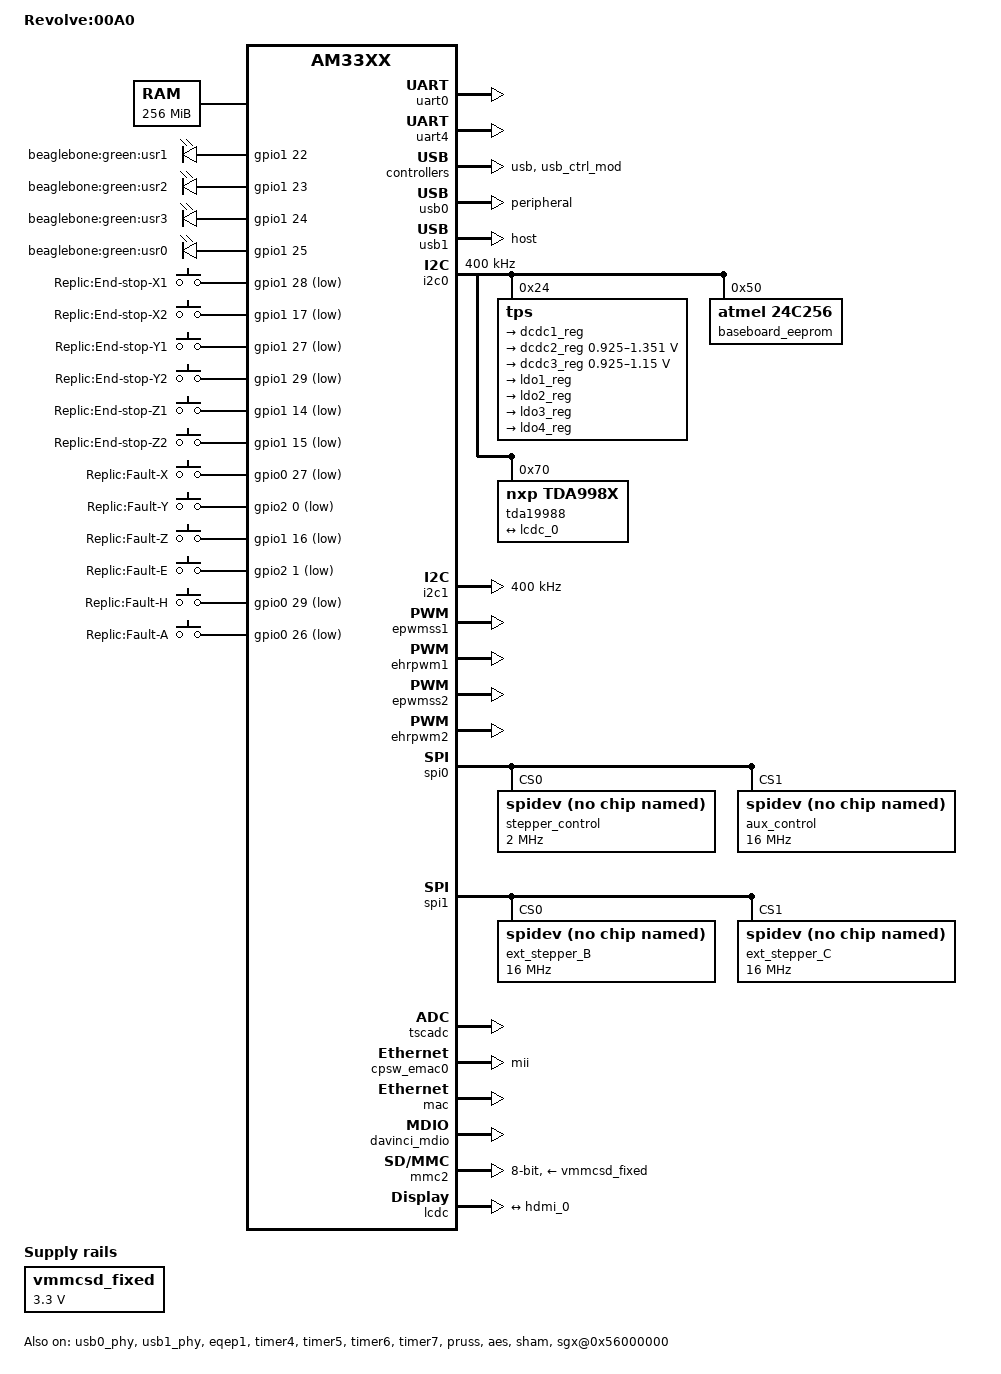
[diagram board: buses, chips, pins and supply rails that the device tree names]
/*
 * Copyright (C) 2012 Texas Instruments Incorporated - http://www.ti.com/
 *
 * This program is free software; you can redistribute it and/or modify
 * it under the terms of the GNU General Public License version 2 as
 * published by the Free Software Foundation.
 */
/dts-v1/;

#include "am33xx.dtsi"
/* #include "am335x-bone-jtag.dtsi" */

/ {

	model = "Revolve:00A0";
	compatible = "ti,am335x-bone-black", "ti,am335x-bone", "ti,am33xx";

	cpus {
		cpu@0 {
			cpu0-supply = <&dcdc2_reg>;
		};
	};

	memory@80000000 {
		device_type = "memory";
		reg = <0x80000000 0x10000000>; /* 256 MB */
	};

	chosen {
		stdout-path = &uart0;
	};

	vmmcsd_fixed: fixedregulator0 {
		compatible = "regulator-fixed";
		regulator-name = "vmmcsd_fixed";
		regulator-min-microvolt = <3300000>;
		regulator-max-microvolt = <3300000>;
	};

    leds {
	    pinctrl-names = "default";
	    pinctrl-0 = <&user_leds_s0>;

	    compatible = "gpio-leds";

	    led1 {
		    label = "beaglebone:green:usr1";
		    gpios = <&gpio1 22 GPIO_ACTIVE_HIGH>;
            trigger-sources = <&usb1>;
		    /*linux,default-trigger = "mmc0";*/
		    default-state = "off";
	    };

	    led2 {
		    label = "beaglebone:green:usr2";
		    gpios = <&gpio1 23 GPIO_ACTIVE_HIGH>;
		    linux,default-trigger = "cpu0";
		    default-state = "off";
	    };

	    led3 {
		    label = "beaglebone:green:usr3";
		    gpios = <&gpio1 24 GPIO_ACTIVE_HIGH>;
		    linux,default-trigger = "mmc1";
		    default-state = "off";
	    };
	    led4 {
		    label = "beaglebone:green:usr0";
		    gpios = <&gpio1 25 GPIO_ACTIVE_HIGH>;
		    linux,default-trigger = "heartbeat";
		    default-state = "off";
	    };

    };


    gpio_keys {
        compatible = "gpio-keys";
        pinctrl-names = "default";
        pinctrl-0 = <&end_stop_pins>;
        pinctrl-1 = <&stepper_fault_pins>;
        #address-cells = <1>;
        #size-cells = <0>;

        switch_x1 {
            label               = "Replic:End-stop-X1";
            debounce_interval   = <50>;
            linux,code          = <112>;
            gpios               = <&gpio1 28 0x5>;
            gpio-key,wakeup;
        };
        switch_x2 {
            label               = "Replic:End-stop-X2";
            debounce_interval   = <50>;
            linux,code          = <113>;
            gpios               = <&gpio1 17 0x5>;
            gpio-key,wakeup;
        };
        switch_y1 {
            label               = "Replic:End-stop-Y1";
            debounce_interval   = <50>;
            linux,code          = <114>;
            gpios               = <&gpio1 27 0x5>;
            gpio-key,wakeup;
        };
        switch_y2 {
            label               = "Replic:End-stop-Y2";
            debounce_interval   = <50>;
            linux,code          = <115>;
            gpios               = <&gpio1 29 0x5>;
            gpio-key,wakeup;
        };
        switch_z1 {
            label               = "Replic:End-stop-Z1";
            debounce_interval   = <50>;
            linux,code          = <116>;
            gpios               = <&gpio1 14 0x5>;
            gpio-key,wakeup;
        };
        switch_z2 {
            label               = "Replic:End-stop-Z2";
            debounce_interval   = <50>;
            linux,code          = <117>;
            gpios               = <&gpio1 15 0x5>;
            gpio-key,wakeup;
        };
        fault_x {
            label               = "Replic:Fault-X";
            debounce_interval   = <50>;
            linux,code          = <90>;
            gpios               = <&gpio0 27 0x5>;
            gpio-key,wakeup;
        };
        fault_y {
            label               = "Replic:Fault-Y";
            debounce_interval   = <50>;
            linux,code          = <91>;
            gpios               = <&gpio2 0 0x5>;
            gpio-key,wakeup;
        };
        fault_z {
            label               = "Replic:Fault-Z";
            debounce_interval   = <50>;
            linux,code          = <92>;
            gpios               = <&gpio1 16 0x5>;
            gpio-key,wakeup;
        };
        fault_e {
            label               = "Replic:Fault-E";
            debounce_interval   = <50>;
            linux,code          = <93>;
            gpios               = <&gpio2 1 0x5>;
            gpio-key,wakeup;
        };
        fault_h {
            label               = "Replic:Fault-H";
            debounce_interval   = <50>;
            linux,code          = <94>;
            gpios               = <&gpio0 29 0x5>;
            gpio-key,wakeup;
        };
        fault_a {
            label               = "Replic:Fault-A";
            debounce_interval   = <50>;
            linux,code          = <94>;
            gpios               = <&gpio0 26 0x5>;
            gpio-key,wakeup;
        };
    };


    pwm4: pwm-heater-e {
        compatible = "ti,omap-dmtimer-pwm";
        ti,timers = <&timer4>;
        #pwm-cells = <3>;
        pinctrl-names = "default";
	    pinctrl-0 = <&timer4_pins>;

    };

    pwm5: pwm-heater-h {
        compatible = "ti,omap-dmtimer-pwm";
        ti,timers = <&timer5>;
        #pwm-cells = <3>;
        pinctrl-names = "default";
	    pinctrl-0 = <&timer5_pins>;

    };

    pwm6: pwm-heater-hbp {
        compatible = "ti,omap-dmtimer-pwm";
        ti,timers = <&timer6>;
        #pwm-cells = <3>;
        pinctrl-names = "default";
	    pinctrl-0 = <&timer6_pins>;

    };

    pwm7: pwm-heater-a {
        compatible = "ti,omap-dmtimer-pwm";
        ti,timers = <&timer7>;
        #pwm-cells = <3>;
        pinctrl-names = "default";
	    pinctrl-0 = <&timer7_pins>;

    };
};


&cpu0_opp_table {
	/*
	 * All PG 2.0 silicon may not support 1GHz but some of the early
	 * BeagleBone Blacks have PG 2.0 silicon which is guaranteed
	 * to support 1GHz OPP so enable it for PG 2.0 on this board.
	 */
	oppnitro-1000000000 {
		opp-supported-hw = <0x06 0x0100>;
	};
};


&am33xx_pinmux {
	nxp_hdmi_bonelt_pins: nxp_hdmi_bonelt_pins {
		pinctrl-single,pins = <
			AM33XX_IOPAD(0x8a0, PIN_OUTPUT | MUX_MODE0)		/* lcd_data0.lcd_data0 */
			AM33XX_IOPAD(0x8a4, PIN_OUTPUT | MUX_MODE0)		/* lcd_data1.lcd_data1 */
			AM33XX_IOPAD(0x8a8, PIN_OUTPUT | MUX_MODE0)		/* lcd_data2.lcd_data2 */
			AM33XX_IOPAD(0x8ac, PIN_OUTPUT | MUX_MODE0)		/* lcd_data3.lcd_data3 */
			AM33XX_IOPAD(0x8b0, PIN_OUTPUT | MUX_MODE0)		/* lcd_data4.lcd_data4 */
			AM33XX_IOPAD(0x8b4, PIN_OUTPUT | MUX_MODE0)		/* lcd_data5.lcd_data5 */
			AM33XX_IOPAD(0x8b8, PIN_OUTPUT | MUX_MODE0)		/* lcd_data6.lcd_data6 */
			AM33XX_IOPAD(0x8bc, PIN_OUTPUT | MUX_MODE0)		/* lcd_data7.lcd_data7 */
			AM33XX_IOPAD(0x8c0, PIN_OUTPUT | MUX_MODE0)		/* lcd_data8.lcd_data8 */
			AM33XX_IOPAD(0x8c4, PIN_OUTPUT | MUX_MODE0)		/* lcd_data9.lcd_data9 */
			AM33XX_IOPAD(0x8c8, PIN_OUTPUT | MUX_MODE0)		/* lcd_data10.lcd_data10 */
			AM33XX_IOPAD(0x8cc, PIN_OUTPUT | MUX_MODE0)		/* lcd_data11.lcd_data11 */
			AM33XX_IOPAD(0x8d0, PIN_OUTPUT | MUX_MODE0)		/* lcd_data12.lcd_data12 */
			AM33XX_IOPAD(0x8d4, PIN_OUTPUT | MUX_MODE0)		/* lcd_data13.lcd_data13 */
			AM33XX_IOPAD(0x8d8, PIN_OUTPUT | MUX_MODE0)		/* lcd_data14.lcd_data14 */
			AM33XX_IOPAD(0x8dc, PIN_OUTPUT | MUX_MODE0)		/* lcd_data15.lcd_data15 */
			AM33XX_IOPAD(0x8e0, PIN_OUTPUT_PULLDOWN | MUX_MODE0)	/* lcd_vsync.lcd_vsync */
			AM33XX_IOPAD(0x8e4, PIN_OUTPUT_PULLDOWN | MUX_MODE0)	/* lcd_hsync.lcd_hsync */
			AM33XX_IOPAD(0x8e8, PIN_OUTPUT_PULLDOWN | MUX_MODE0)	/* lcd_pclk.lcd_pclk */
			AM33XX_IOPAD(0x8ec, PIN_OUTPUT_PULLDOWN | MUX_MODE0)	/* lcd_ac_bias_en.lcd_ac_bias_en */
		>;
	};

    ehrpwm1_pins: ehrpwm1_pins_default {
	    pinctrl-single,pins = <
		    0x20 ( PIN_OUTPUT | MUX_MODE4 ) /* (U10) gpmc_ad8.ehrpwm2A */
		    0x24 ( PIN_OUTPUT | MUX_MODE4 ) /* (T10) gpmc_ad9.ehrpwm2B */
	    >;
    };

    ehrpwm2_pins: ehrpwm2_pins_default {
	    pinctrl-single,pins = <
		    0x48 ( PIN_OUTPUT | MUX_MODE6 ) /* (U14) gpmc_a2.ehrpwm1A */
		    0x4c ( PIN_OUTPUT | MUX_MODE6 ) /* (T14) gpmc_a3.ehrpwm1B */
	    >;
    };

    spi0_pins_default: spi0_pins_deafult {
	    pinctrl-single,pins = <
		    0x150 ( PIN_INPUT | MUX_MODE0 ) /* (A17) spi0_sclk.spi0_sclk */
		    0x154 ( PIN_INPUT | MUX_MODE0 ) /* (B17) spi0_d0.spi0_d0 */
		    0x158 ( PIN_INPUT | MUX_MODE0 ) /* (B16) spi0_d1.spi0_d1 */
		    0x15c ( PIN_OUTPUT | MUX_MODE0 ) /* (A16) spi0_cs0.spi0_cs0 */
		    0x160 ( PIN_OUTPUT | MUX_MODE0 ) /* (C15) spi0_cs1.spi0_cs1 */
	    >;
    };

    spi0_pins_reset: spi0_pins_reset {
	    pinctrl-single,pins = <
		    0x150 ( PIN_INPUT | MUX_MODE7 ) /* (A17) spi0_sclk.spi0_sclk */
		    0x154 ( PIN_INPUT | MUX_MODE7 ) /* (B17) spi0_d0.spi0_d0 */
		    0x158 ( PIN_INPUT | MUX_MODE7 ) /* (B16) spi0_d1.spi0_d1 */
		    0x15c ( PIN_INPUT | MUX_MODE7 ) /* (A16) spi0_cs0.spi0_cs0 */
		    0x160 ( PIN_INPUT | MUX_MODE7 ) /* (C15) spi0_cs1.spi0_cs1 */
	    >;
    };

    spi1_pins: spi1_pins {
	    pinctrl-single,pins = <
		    0x164 ( PIN_INPUT | MUX_MODE4 ) /* (C18) eCAP0_in_PWM0_out.spi1_sclk */
		    0x168 ( PIN_INPUT | MUX_MODE4 ) /* (E18) uart0_ctsn.spi1_d0 */
		    0x16c ( PIN_INPUT | MUX_MODE4 ) /* (E17) uart0_rtsn.spi1_d1 */
		    0x178 ( PIN_INPUT | MUX_MODE4 ) /* (D18) uart1_ctsn.spi1_cs0 */
		    0x17c ( PIN_INPUT | MUX_MODE4 ) /* (D17) uart1_rtsn.spi1_cs1 */
	    >;
    };

    pru_stepper_pins: pru_pruss11_pins {
	    pinctrl-single,pins = <
		    0x190 ( PIN_OUTPUT | MUX_MODE5 ) /* (A13) mcasp0_aclkx.pr1_pru0_pru_r30[0] */
		    0x194 ( PIN_OUTPUT | MUX_MODE5 ) /* (B13) mcasp0_fsx.pr1_pru0_pru_r30[1] */
		    0x198 ( PIN_OUTPUT | MUX_MODE5 ) /* (D12) mcasp0_axr0.pr1_pru0_pru_r30[2] */
		    0x19c ( PIN_OUTPUT | MUX_MODE5 ) /* (C12) mcasp0_ahclkr.pr1_pru0_pru_r30[3] */
		    0x1a0 ( PIN_OUTPUT | MUX_MODE5 ) /* (B12) mcasp0_aclkr.pr1_pru0_pru_r30[4] */
		    0x1a4 ( PIN_OUTPUT | MUX_MODE5 ) /* (C13) mcasp0_fsr.pr1_pru0_pru_r30[5] */
		    0x1a8 ( PIN_OUTPUT | MUX_MODE5 ) /* (D13) mcasp0_axr1.pr1_pru0_pru_r30[6] */
		    0x1ac ( PIN_OUTPUT | MUX_MODE5 ) /* (A14) mcasp0_ahclkx.pr1_pru0_pru_r30[7] */
		    0xf0 ( PIN_OUTPUT | MUX_MODE5 ) /* (F17) mmc0_dat3.pr1_pru0_pru_r30[8] */
		    0xf4 ( PIN_OUTPUT | MUX_MODE5 ) /* (F18) mmc0_dat2.pr1_pru0_pru_r30[9] */
		    0xf8 ( PIN_OUTPUT | MUX_MODE5 ) /* (G15) mmc0_dat1.pr1_pru0_pru_r30[10] */
		    0xfc ( PIN_OUTPUT | MUX_MODE5 ) /* (G16) mmc0_dat0.pr1_pru0_pru_r30[11] */
		    0x100 ( PIN_OUTPUT | MUX_MODE5 ) /* (G17) mmc0_clk.pr1_pru0_pru_r30[12] */
		    0x104 ( PIN_OUTPUT | MUX_MODE5 ) /* (G18) mmc0_cmd.pr1_pru0_pru_r30[13] */
		    0x30 ( PIN_OUTPUT | MUX_MODE6 ) /* (T12) gpmc_ad12.pr1_pru0_pru_r30[14] */
		    0x34 ( PIN_OUTPUT | MUX_MODE6 ) /* (R12) gpmc_ad13.pr1_pru0_pru_r30[15] */
		    /*0x38 ( PIN_INPUT | MUX_MODE6 )*/ /* (V13) gpmc_ad14.pr1_pru0_pru_r31[14] */
		    /*0x3c ( PIN_INPUT | MUX_MODE6 )*/ /* (U13) gpmc_ad15.pr1_pru0_pru_r31[15] */
		    0x1b4 ( PIN_INPUT | MUX_MODE5 ) /* (D14) xdma_event_intr1.pr1_pru0_pru_r31[16] */
	    >;
    };

    pru_stepper_pins_gpio: pru_pruss11_pins_gpio {
	    pinctrl-single,pins = <
		    0x190 ( PIN_OUTPUT | MUX_MODE7 ) /* (A13) mcasp0_aclkx.pr1_pru0_pru_r30[0] */
		    0x194 ( PIN_OUTPUT | MUX_MODE7 ) /* (B13) mcasp0_fsx.pr1_pru0_pru_r30[1] */
		    0x198 ( PIN_OUTPUT | MUX_MODE7 ) /* (D12) mcasp0_axr0.pr1_pru0_pru_r30[2] */
		    0x19c ( PIN_OUTPUT | MUX_MODE7 ) /* (C12) mcasp0_ahclkr.pr1_pru0_pru_r30[3] */
		    0x1a0 ( PIN_OUTPUT | MUX_MODE7 ) /* (B12) mcasp0_aclkr.pr1_pru0_pru_r30[4] */
		    0x1a4 ( PIN_OUTPUT | MUX_MODE7 ) /* (C13) mcasp0_fsr.pr1_pru0_pru_r30[5] */
		    0x1a8 ( PIN_OUTPUT | MUX_MODE7 ) /* (D13) mcasp0_axr1.pr1_pru0_pru_r30[6] */
		    0x1ac ( PIN_OUTPUT | MUX_MODE7 ) /* (A14) mcasp0_ahclkx.pr1_pru0_pru_r30[7] */
		    0xf0 ( PIN_OUTPUT | MUX_MODE7 ) /* (F17) mmc0_dat3.pr1_pru0_pru_r30[8] */
		    0xf4 ( PIN_OUTPUT | MUX_MODE7 ) /* (F18) mmc0_dat2.pr1_pru0_pru_r30[9] */
		    0xf8 ( PIN_OUTPUT | MUX_MODE7 ) /* (G15) mmc0_dat1.pr1_pru0_pru_r30[10] */
		    0xfc ( PIN_OUTPUT | MUX_MODE7 ) /* (G16) mmc0_dat0.pr1_pru0_pru_r30[11] */
		    0x100 ( PIN_OUTPUT | MUX_MODE7 ) /* (G17) mmc0_clk.pr1_pru0_pru_r30[12] */
		    0x104 ( PIN_OUTPUT | MUX_MODE7 ) /* (G18) mmc0_cmd.pr1_pru0_pru_r30[13] */
		    0x30 ( PIN_OUTPUT | MUX_MODE7 ) /* (T12) gpmc_ad12.pr1_pru0_pru_r30[14] */
		    0x34 ( PIN_OUTPUT | MUX_MODE7 ) /* (R12) gpmc_ad13.pr1_pru0_pru_r30[15] */
	    >;
    };

    timer4_pins: timer4_pins {
	    pinctrl-single,pins = <
		    0x90 ( PIN_OUTPUT | MUX_MODE2 ) /* (R7) gpmc_advn_ale.timer4 */
	    >;
    };

    timer5_pins: timer5_pins {
	    pinctrl-single,pins = <
		     0x9c ( PIN_OUTPUT | MUX_MODE2 ) /* (T6) gpmc_be0n_cle.timer5 */
	    >;
    };
    timer6_pins: timer6_pins {
	    pinctrl-single,pins = <
		    0x98 ( PIN_OUTPUT | MUX_MODE2 ) /* (U6) gpmc_wen.timer6 */
	    >;
    };
    timer7_pins: timer7_pins {
	    pinctrl-single,pins = <
		     0x94 ( PIN_OUTPUT | MUX_MODE2 ) /* (T7) gpmc_oen_ren.timer7 */
	    >;
    };

    user_leds_s0: user_leds_s0 {
		pinctrl-single,pins = <
            0x64 ( PIN_OUTPUT | MUX_MODE7 ) /* (U16) gpmc_a9.gpio1[25] */
			AM33XX_IOPAD(0x858, PIN_OUTPUT | MUX_MODE7)	/* gpmc_a6.gpio1_22 */
			AM33XX_IOPAD(0x85c, PIN_OUTPUT | MUX_MODE7)	/* gpmc_a7.gpio1_23 */
			AM33XX_IOPAD(0x860, PIN_OUTPUT | MUX_MODE7)	/* gpmc_a8.gpio1_24 */
		>;
	};

    i2c0_pins: pinmux_i2c0_pins {
		pinctrl-single,pins = <
			AM33XX_IOPAD(0x988, PIN_INPUT_PULLUP | MUX_MODE0)	/* i2c0_sda.i2c0_sda */
			AM33XX_IOPAD(0x98c, PIN_INPUT_PULLUP | MUX_MODE0)	/* i2c0_scl.i2c0_scl */
		>;
	};

    i2c1_pins: i2c1_pins {
        pinctrl-single,pins = <
	        0x184 ( PIN_INPUT | MUX_MODE3 ) /* (D15) uart1_txd.I2C1_SCL */
	        0x180 ( PIN_INPUT | MUX_MODE3 ) /* (D16) uart1_rxd.I2C1_SDA */
        >;
    };


    uart0_pins: pinmux_uart0_pins {
		pinctrl-single,pins = <
			AM33XX_IOPAD(0x970, PIN_INPUT_PULLUP | MUX_MODE0)	/* uart0_rxd.uart0_rxd */
			AM33XX_IOPAD(0x974, PIN_OUTPUT_PULLDOWN | MUX_MODE0)	/* uart0_txd.uart0_txd */
		>;
	};

    uart4_pins: pinmux_uart4_pins {
	    pinctrl-single,pins = <
		    0x70 ( PIN_INPUT | MUX_MODE6 ) /* (T17) gpmc_wait0.uart4_rxd */
		    0x74 ( PIN_OUTPUT | MUX_MODE6 ) /* (U17) gpmc_wpn.uart4_txd */
	    >;
    };

    cpsw_default: cpsw_default {
		pinctrl-single,pins = <
			/* Slave 1 */
			0x108 (PIN_INPUT | MUX_MODE0)		/* mii1_col.mii1_col */
			0x10c (PIN_INPUT | MUX_MODE0)		/* mii1_crs.mii1_crs */
			AM33XX_IOPAD(0x910, PIN_INPUT_PULLUP | MUX_MODE0)	/* mii1_rxerr.mii1_rxerr */
			AM33XX_IOPAD(0x914, PIN_OUTPUT_PULLDOWN | MUX_MODE0)	/* mii1_txen.mii1_txen */
			AM33XX_IOPAD(0x918, PIN_INPUT_PULLUP | MUX_MODE0)	/* mii1_rxdv.mii1_rxdv */
			AM33XX_IOPAD(0x91c, PIN_OUTPUT_PULLDOWN | MUX_MODE0)	/* mii1_txd3.mii1_txd3 */
			AM33XX_IOPAD(0x920, PIN_OUTPUT_PULLDOWN | MUX_MODE0)	/* mii1_txd2.mii1_txd2 */
			AM33XX_IOPAD(0x924, PIN_OUTPUT_PULLDOWN | MUX_MODE0)	/* mii1_txd1.mii1_txd1 */
			AM33XX_IOPAD(0x928, PIN_OUTPUT_PULLDOWN | MUX_MODE0)	/* mii1_txd0.mii1_txd0 */
			AM33XX_IOPAD(0x92c, PIN_INPUT_PULLUP | MUX_MODE0)	/* mii1_txclk.mii1_txclk */
			AM33XX_IOPAD(0x930, PIN_INPUT_PULLUP | MUX_MODE0)	/* mii1_rxclk.mii1_rxclk */
			AM33XX_IOPAD(0x934, PIN_INPUT_PULLUP | MUX_MODE0)	/* mii1_rxd3.mii1_rxd3 */
			AM33XX_IOPAD(0x938, PIN_INPUT_PULLUP | MUX_MODE0)	/* mii1_rxd2.mii1_rxd2 */
			AM33XX_IOPAD(0x93c, PIN_INPUT_PULLUP | MUX_MODE0)	/* mii1_rxd1.mii1_rxd1 */
			AM33XX_IOPAD(0x940, PIN_INPUT_PULLUP | MUX_MODE0)	/* mii1_rxd0.mii1_rxd0 */
		>;
	};

	cpsw_sleep: cpsw_sleep {
		pinctrl-single,pins = <
			/* Slave 1 reset value */
			0x108 (PIN_INPUT_PULLDOWN | MUX_MODE7)
			0x10c (PIN_INPUT_PULLDOWN | MUX_MODE7)
			AM33XX_IOPAD(0x910, PIN_INPUT_PULLDOWN | MUX_MODE7)
			AM33XX_IOPAD(0x914, PIN_INPUT_PULLDOWN | MUX_MODE7)
			AM33XX_IOPAD(0x918, PIN_INPUT_PULLDOWN | MUX_MODE7)
			AM33XX_IOPAD(0x91c, PIN_INPUT_PULLDOWN | MUX_MODE7)
			AM33XX_IOPAD(0x920, PIN_INPUT_PULLDOWN | MUX_MODE7)
			AM33XX_IOPAD(0x924, PIN_INPUT_PULLDOWN | MUX_MODE7)
			AM33XX_IOPAD(0x928, PIN_INPUT_PULLDOWN | MUX_MODE7)
			AM33XX_IOPAD(0x92c, PIN_INPUT_PULLDOWN | MUX_MODE7)
			AM33XX_IOPAD(0x930, PIN_INPUT_PULLDOWN | MUX_MODE7)
			AM33XX_IOPAD(0x934, PIN_INPUT_PULLDOWN | MUX_MODE7)
			AM33XX_IOPAD(0x938, PIN_INPUT_PULLDOWN | MUX_MODE7)
			AM33XX_IOPAD(0x93c, PIN_INPUT_PULLDOWN | MUX_MODE7)
			AM33XX_IOPAD(0x940, PIN_INPUT_PULLDOWN | MUX_MODE7)
		>;
	};

	davinci_mdio_default: davinci_mdio_default {
		pinctrl-single,pins = <
			/* MDIO */
			AM33XX_IOPAD(0x948, PIN_INPUT_PULLUP | SLEWCTRL_FAST | MUX_MODE0)	/* mdio_data.mdio_data */
			AM33XX_IOPAD(0x94c, PIN_OUTPUT_PULLUP | MUX_MODE0)			/* mdio_clk.mdio_clk */
		>;
	};

	davinci_mdio_sleep: davinci_mdio_sleep {
		pinctrl-single,pins = <
			/* MDIO reset value */
			AM33XX_IOPAD(0x948, PIN_INPUT_PULLDOWN | MUX_MODE7)
			AM33XX_IOPAD(0x94c, PIN_INPUT_PULLDOWN | MUX_MODE7)
		>;
	};

	emmc_pins: pinmux_emmc_pins {
		pinctrl-single,pins = <
			AM33XX_IOPAD(0x880, PIN_INPUT_PULLUP | MUX_MODE2) /* gpmc_csn1.mmc1_clk */
			AM33XX_IOPAD(0x884, PIN_INPUT_PULLUP | MUX_MODE2) /* gpmc_csn2.mmc1_cmd */
			AM33XX_IOPAD(0x800, PIN_INPUT_PULLUP | MUX_MODE1) /* gpmc_ad0.mmc1_dat0 */
			AM33XX_IOPAD(0x804, PIN_INPUT_PULLUP | MUX_MODE1) /* gpmc_ad1.mmc1_dat1 */
			AM33XX_IOPAD(0x808, PIN_INPUT_PULLUP | MUX_MODE1) /* gpmc_ad2.mmc1_dat2 */
			AM33XX_IOPAD(0x80c, PIN_INPUT_PULLUP | MUX_MODE1) /* gpmc_ad3.mmc1_dat3 */
			AM33XX_IOPAD(0x810, PIN_INPUT_PULLUP | MUX_MODE1) /* gpmc_ad4.mmc1_dat4 */
			AM33XX_IOPAD(0x814, PIN_INPUT_PULLUP | MUX_MODE1) /* gpmc_ad5.mmc1_dat5 */
			AM33XX_IOPAD(0x818, PIN_INPUT_PULLUP | MUX_MODE1) /* gpmc_ad6.mmc1_dat6 */
			AM33XX_IOPAD(0x81c, PIN_INPUT_PULLUP | MUX_MODE1) /* gpmc_ad7.mmc1_dat7 */
		>;
	};

    stepper_fault_pins: pinmux_stepper_fault_pins{
        pinctrl-single,pins = <
            0x2c  ( PIN_INPUT | MUX_MODE7 ) // FAULT X
            0x88  ( PIN_INPUT | MUX_MODE7 ) // FAULT Y
            0x40  ( PIN_INPUT | MUX_MODE7 ) // FAULT Z
            0x8c  ( PIN_INPUT | MUX_MODE7 ) // FAULT E
            0x144 ( PIN_INPUT | MUX_MODE7 ) // FAULT H
            0x28  ( PIN_INPUT | MUX_MODE7 ) // FAULT A
        >;
    };

    end_stop_pins: pinmux_end_stop_pins{
        pinctrl-single,pins = <
            0x78 ( PIN_INPUT | MUX_MODE7 ) // End stop X1  = GPIO3_21
            0x44 ( PIN_INPUT | MUX_MODE7 ) // End stop X2  = GPIO0_30
            0x6c ( PIN_INPUT | MUX_MODE7 ) // End stop Y1  = GPIO1_27
            0x7c ( PIN_INPUT | MUX_MODE7 ) // End stop Z1  = GPIO1_14
            0x38 ( PIN_INPUT | MUX_MODE7 ) // End stop Z2  = GPIO1_15
            0x3c ( PIN_INPUT | MUX_MODE7 ) // End stop Y2  = GPIO3_17
        >;
    };

    enable_stuff_pins: enable_stuff_pins{
        pinctrl-single,pins = <
	            0x21c ( PIN_INPUT | MUX_MODE7 ) /* (F16) USB0_DRVVBUS.gpio0[18] */
        >;
    };

    eqep1_pins_default: myeqep1_pins_default {
	    pinctrl-single,pins = <
		    0x50 ( PIN_INPUT | MUX_MODE6 ) /* (R14) gpmc_a4.eQEP1A_in */
		    0x54 ( PIN_INPUT | MUX_MODE6 ) /* (V15) gpmc_a5.eQEP1B_in */
	    >;
    };
};

&uart0 {
	pinctrl-names = "default";
	pinctrl-0 = <&uart0_pins>;
	status = "okay";
};

&uart4 {
	pinctrl-names = "default";
	pinctrl-0 = <&uart4_pins>;
	status = "okay";
};

&usb {
	status = "okay";
};

&usb_ctrl_mod {
	status = "okay";
};

&usb0_phy {
	status = "okay";
	#phy-cells = <0>;
};

&usb1_phy {
	status = "okay";
	#phy-cells = <0>;
};

&usb0 {
	status = "okay";
	dr_mode = "peripheral";
	interrupts-extended = <&intc 18 &tps 0>;
	interrupt-names = "mc", "vbus";
};

&usb1 {
	status = "okay";
	dr_mode = "host";
};

&cppi41dma  {
	status = "okay";
};

&gpio0{
	status = "okay";
};

&i2c0 {
	pinctrl-names = "default";
	pinctrl-0 = <&i2c0_pins>;

	status = "okay";
	clock-frequency = <400000>;

	tps: tps@24 {
		reg = <0x24>;
	};

	baseboard_eeprom: baseboard_eeprom@50 {
		compatible = "atmel,24c256";
		reg = <0x50>;

		#address-cells = <1>;
		#size-cells = <1>;
		baseboard_data: baseboard_data@0 {
			reg = <0 0x100>;
		};
	};

	tda19988: tda19988@70 {
		compatible = "nxp,tda998x";
		reg = <0x70>;

		pinctrl-names = "default";
		pinctrl-0 = <&nxp_hdmi_bonelt_pins>;

		/* Convert 24bit BGR to RGB, e.g. cross red and blue wiring */
		/* video-ports = <0x234501>; */
		ports {
			port@0 {
				hdmi_0: endpoint@0 {
					remote-endpoint = <&lcdc_0>;
				};
			};
		};
	};
};

&i2c1{
    pinctrl-names = "default";
	pinctrl-0 = <&i2c1_pins>;
	status = "okay";
	clock-frequency = <400000>;
};

&epwmss1{
    status = "okay";
};

&ehrpwm1{
    status = "okay";
    pinctrl-names = "default";
	pinctrl-0 = <&ehrpwm1_pins>;
};

&eqep1{
    status = "okay";
    pinctrl-names = "default";
    pinctrl-0 = <&eqep1_pins_default>;

    count_mode = <0>;  /* 0 - Quadrature mode, normal 90 phase offset cha & chb.  1 - Direction mode.  cha input = clock, chb input = direction */
    swap_inputs = <0>; /* Are channel A and channel B swapped? (0 - no, 1 - yes) */
    invert_qa = <1>;   /* Should we invert the channel A input?  */
    invert_qb = <1>;   /* Should we invert the channel B input? I invert these because my encoder outputs drive transistors that pull down the pins */
};

&epwmss2{
    status = "okay";
};

&ehrpwm2{
    status = "okay";
    pinctrl-names = "default";
	pinctrl-0 = <&ehrpwm2_pins>;
};


&timer4{
    status = "okay";
	ti,timer-pwm;
};
&timer5{
    status = "okay";
	ti,timer-pwm;
};
&timer6{
    status = "okay";
	ti,timer-pwm;
};
&timer7{
    status = "okay";
	ti,timer-pwm;
};

&spi0{
    status = "okay";
    pinctrl-names = "default";

    stepper_control@0{
        #address-cells 	  = <1>;
        #size-cells 	  = <0>;
        compatible 	  = "spidev";
        reg 		  = <0>;
        spi-max-frequency = <2000000>;
    };
    aux_control@1{
        #address-cells 	  = <1>;
        #size-cells 	  = <0>;
        compatible 	  = "spidev";
        reg 		  = <1>;
        spi-max-frequency = <16000000>;
    };
};

&spi1{
    status = "okay";
    pinctrl-names = "default";
	pinctrl-0 = <&spi1_pins>;

    ext_stepper_B@0{
        #address-cells 	  = <1>;
        #size-cells 	  = <0>;
        compatible 	  = "spidev";
        reg 		  = <0>;
        spi-max-frequency = <16000000>;
    };

    ext_stepper_C@1{
        #address-cells 	  = <1>;
        #size-cells 	  = <0>;
        compatible 	  = "spidev";
        reg 		  = <1>;
        spi-max-frequency = <16000000>;
    };
};

&pruss{
    status = "okay";
};

&tscadc{
    status = "okay";
    adc {
        ti,adc-channels = <0 1 2 3 4 5 6 7>;
	};
};

/include/ "tps65217.dtsi"

&tps {
	/*
	 * Configure pmic to enter OFF-state instead of SLEEP-state ("RTC-only
	 * mode") at poweroff.  Most BeagleBone versions do not support RTC-only
	 * mode and risk hardware damage if this mode is entered.
	 *
	 * For details, see linux-omap mailing list May 2015 thread
	 *	[PATCH] ARM: dts: am335x-bone* enable pmic-shutdown-controller
	 * In particular, messages:
	 *	http://www.spinics.net/lists/linux-omap/msg118585.html
	 *	http://www.spinics.net/lists/linux-omap/msg118615.html
	 *
	 * You can override this later with
	 *	&tps {  /delete-property/ ti,pmic-shutdown-controller;  }
	 * if you want to use RTC-only mode and made sure you are not affected
	 * by the hardware problems. (Tip: double-check by performing a current
	 * measurement after shutdown: it should be less than 1 mA.)
	 */

	interrupts = <7>; /* NMI */
	interrupt-parent = <&intc>;

	ti,pmic-shutdown-controller;

	charger {
		status = "okay";
	};

	pwrbutton {
		status = "okay";
	};

	regulators {
		dcdc1_reg: regulator@0 {
			regulator-name = "vdds_dpr";
			regulator-always-on;
		};

		dcdc2_reg: regulator@1 {
			/* VDD_MPU voltage limits 0.95V - 1.26V with +/-4% tolerance */
			regulator-name = "vdd_mpu";
			regulator-min-microvolt = <925000>;
			regulator-max-microvolt = <1351500>;
			regulator-boot-on;
			regulator-always-on;
		};

		dcdc3_reg: regulator@2 {
			/* VDD_CORE voltage limits 0.95V - 1.1V with +/-4% tolerance */
			regulator-name = "vdd_core";
			regulator-min-microvolt = <925000>;
			regulator-max-microvolt = <1150000>;
			regulator-boot-on;
			regulator-always-on;
		};

		ldo1_reg: regulator@3 {
			regulator-name = "vio,vrtc,vdds";
			regulator-always-on;
		};

		ldo2_reg: regulator@4 {
			regulator-name = "vdd_3v3aux";
			regulator-always-on;
		};

		ldo3_reg: regulator@5 {
			regulator-name = "vdd_1v8";
			regulator-always-on;
		};

		ldo4_reg: regulator@6 {
			regulator-name = "vdd_3v3a";
			regulator-always-on;
		};
	};
};

&cpsw_emac0 {
	phy_id = <&davinci_mdio>, <0>;
	phy-mode = "mii";
};

&mac {
	slaves = <1>;
	pinctrl-names = "default", "sleep";
	pinctrl-0 = <&cpsw_default>;
	pinctrl-1 = <&cpsw_sleep>;
	status = "okay";
};

&davinci_mdio {
	pinctrl-names = "default", "sleep";
	pinctrl-0 = <&davinci_mdio_default>;
	pinctrl-1 = <&davinci_mdio_sleep>;
	status = "okay";
};

&mmc2 {
	vmmc-supply = <&vmmcsd_fixed>;
	pinctrl-names = "default";
	pinctrl-0 = <&emmc_pins>;
	bus-width = <8>;
	status = "okay";
};


&lcdc {
	status = "okay";

	/* If you want to get 24 bit RGB and 16 BGR mode instead of
	 * current 16 bit RGB and 24 BGR modes, set the propety
	 * below to "crossed" and uncomment the video-ports -property
	 * in tda19988 node.
	 */
	blue-and-red-wiring = "straight";

	port {
		lcdc_0: endpoint@0 {
			remote-endpoint = <&hdmi_0>;
		};
	};
};

&aes {
	status = "okay";
};

&sham {
	status = "okay";
};

&rtc {
	system-power-controller;
};


/* the cape manager */
/ {
	bone_capemgr {
		compatible = "ti,bone-capemgr";
		status = "okay";

		nvmem-cells = <&baseboard_data>;
		nvmem-cell-names = "baseboard";
		#slots = <0>;

		/* map board revisions to compatible definitions */
		baseboardmaps {
			baseboard_revolve: board@0 {
				board-name = "A335RVLV";
				compatible-name = "ti,beaglebone";
			};
		};
	};
};


&ocp {
	enable_stuff_pinmux {
		compatible = "gpio-of-helper";
		status = "okay";
		pinctrl-names = "default";
		pinctrl-0 = <&enable_stuff_pins>;

        enable_stuff{
            gpio-name   = "enable_stuff";
            gpio 		= <&gpio0 18 0>;
			output;
        };
	};

    sgx@0x56000000 {
            compatible = "ti,sgx";
            ti,hwmods = "gfx";
            reg = <0x56000000 0x1000000>;
            interrupts = <0x25>;
            status = "okay";
    };

    pruss_pins {
        compatible = "gpio-of-helper";
		status = "okay";
		pinctrl-names = "default";
		pinctrl-0 = <&pru_stepper_pins_gpio>;

        stepper_x_step{
            gpio-name   = "step_x";
            gpio 		= <&gpio3 14 0>;
			output;
        };
        stepper_x_dir{
            gpio-name   = "dir_x";
            gpio 		= <&gpio3 15 0>;
			output;
        };
        stepper_y_step{
            gpio-name   = "step_y";
            gpio 		= <&gpio3 16 0>;
			output;
        };
        stepper_y_dir{
            gpio-name   = "dir_y";
            gpio 		= <&gpio3 17 0>;
			output;
        };
        stepper_z_step{
            gpio-name   = "step_z";
            gpio 		= <&gpio3 18 0>;
			output;
        };
        stepper_z_dir{
            gpio-name   = "dir_z";
            gpio 		= <&gpio3 19 0>;
			output;
        };
        stepper_e_step{
            gpio-name   = "step_e";
            gpio 		= <&gpio3 20 0>;
			output;
        };
        stepper_e_dir{
            gpio-name   = "dir_e";
            gpio 		= <&gpio3 21 0>;
			output;
        };
        stepper_h_step{
            gpio-name   = "step_h";
            gpio 		= <&gpio2 26 0>;
			output;
        };
        stepper_h_dir{
            gpio-name   = "dir_h";
            gpio 		= <&gpio2 27 0>;
			output;
        };
        stepper_a_step{
            gpio-name   = "step_a";
            gpio 		= <&gpio2 28 0>;
			output;
        };
        stepper_a_dir{
            gpio-name   = "dir_a";
            gpio 		= <&gpio2 29 0>;
			output;
        };
        stepper_b_step{
            gpio-name   = "step_b";
            gpio 		= <&gpio2 30 0>;
			output;
        };
        stepper_b_dir{
            gpio-name   = "dir_b";
            gpio 		= <&gpio2 31 0>;
			output;
        };
        stepper_c_step{
            gpio-name   = "step_c";
            gpio 		= <&gpio1 12 0>;
			output;
        };
        stepper_c_dir{
            gpio-name   = "dir_c";
            gpio 		= <&gpio1 13 0>;
			output;
        };
    };

    spi0_pins {
        compatible = "bone-pinmux-helper";
		status = "okay";
		pinctrl-names = "default", "reset";
		pinctrl-0 = <&spi0_pins_default>;
        pinctrl-1 = <&spi0_pins_reset>;
    };

};
